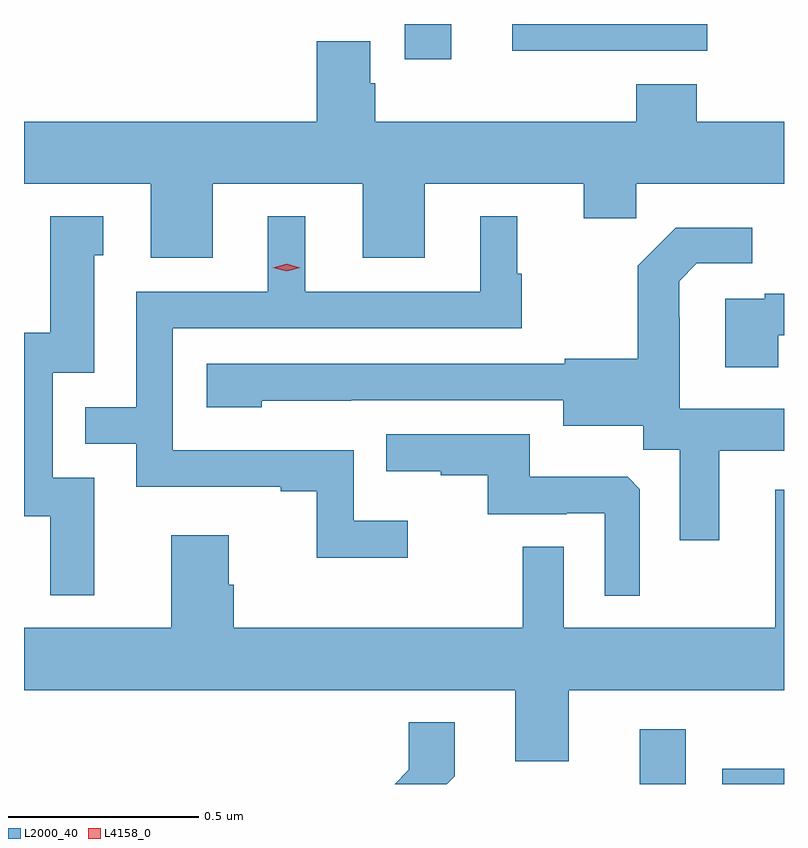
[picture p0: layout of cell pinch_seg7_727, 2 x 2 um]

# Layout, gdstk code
import gdstk
lib = gdstk.Library(unit=1e-6, precision=1e-09)
def R(c, l, rs):  # rectangles x0, y0, x1, y1
    for r in rs: c.add(gdstk.rectangle(r[:2], r[2:], *l))
def P(c, l, *ps):  # polygons
    for p in ps: c.add(gdstk.Polygon(p, *l))
L2000_40 = (2000, 40)
L4158_0 = (4158, 0)

pinch_seg7_727 = lib.new_cell('pinch_seg7_727')
R(pinch_seg7_727, L2000_40, [(284.306,1029.673,284.428,1029.817), (284.523,1029.673,284.686,1029.713), (283.688,1031.58,283.81,1031.673), (283.971,1031.603,284.484,1031.673)])
P(pinch_seg7_727, L2000_40, [(283.183,1031.252),(283.577,1031.252),(283.577,1031.058),(283.741,1031.058),(283.741,1031.252),(284.159,1031.252),(284.159,1031.162),(284.297,1031.162),(284.297,1031.252),(284.686,1031.252),(284.686,1031.416),(284.457,1031.416),(284.457,1031.515),(284.297,1031.515),(284.297,1031.416),(283.61,1031.416),(283.61,1031.517),(283.597,1031.517),(283.597,1031.628),(283.457,1031.628),(283.457,1031.416),(282.686,1031.416),(282.686,1031.252),(283.019,1031.252),(283.019,1031.058),(283.183,1031.058)],
  [(282.871,1030.479),(282.762,1030.479),(282.762,1030.755),(282.871,1030.755),(282.871,1031.064),(282.895,1031.064),(282.895,1031.167),(282.755,1031.167),(282.755,1030.86),(282.686,1030.86),(282.686,1030.378),(282.755,1030.378),(282.755,1030.17),(282.871,1030.17)],
  [(283.696,1030.366),(283.554,1030.366),(283.554,1030.551),(283.077,1030.551),(283.077,1030.872),(283.996,1030.872),(283.996,1031.016),(283.984,1031.016),(283.984,1031.167),(283.886,1031.167),(283.886,1030.968),(283.426,1030.968),(283.426,1031.167),(283.328,1031.167),(283.328,1030.968),(282.981,1030.968),(282.981,1030.665),(282.847,1030.665),(282.847,1030.569),(282.981,1030.569),(282.981,1030.455),(283.361,1030.455),(283.361,1030.443),(283.456,1030.443),(283.456,1030.268),(283.696,1030.268)],
  [(284.515,1030.55),(284.686,1030.55),(284.686,1030.66),(284.412,1030.66),(284.412,1030.901),(284.41,1030.901),(284.41,1030.996),(284.457,1031.043),(284.602,1031.043),(284.602,1031.137),(284.401,1031.137),(284.301,1031.037),(284.301,1030.792),(284.109,1030.792),(284.109,1030.779),(283.167,1030.779),(283.167,1030.664),(283.311,1030.664),(283.311,1030.682),(283.547,1030.682),(283.547,1030.683),(284.105,1030.683),(284.105,1030.616),(284.316,1030.616),(284.316,1030.552),(284.411,1030.552),(284.411,1030.314),(284.515,1030.314)],
  [(284.671,1030.854),(284.686,1030.854),(284.686,1030.963),(284.635,1030.963),(284.635,1030.95),(284.531,1030.95),(284.531,1030.77),(284.671,1030.77)],
  [(284.307,1030.449),(284.275,1030.481),(284.017,1030.481),(284.017,1030.593),(283.639,1030.593),(283.639,1030.496),(283.783,1030.496),(283.783,1030.485),(283.907,1030.485),(283.907,1030.383),(284.114,1030.383),(284.114,1030.386),(284.214,1030.386),(284.214,1030.169),(284.307,1030.169)],
  [(283.073,1030.327),(283.073,1030.084),(282.686,1030.084),(282.686,1029.92),(283.979,1029.92),(283.979,1029.733),(284.119,1029.733),(284.119,1029.92),(284.686,1029.92),(284.686,1030.447),(284.663,1030.447),(284.663,1030.084),(284.106,1030.084),(284.106,1030.298),(283.998,1030.298),(283.998,1030.084),(283.238,1030.084),(283.238,1030.197),(283.225,1030.197),(283.225,1030.327)],
  [(283.819,1029.694),(283.819,1029.835),(283.699,1029.835),(283.699,1029.711),(283.662,1029.673),(283.798,1029.673)])
P(pinch_seg7_727, L4158_0, [(283.377,1031.022),(283.341,1031.031),(283.341,1031.032),(283.341,1031.032),(283.377,1031.042),(283.413,1031.032),(283.413,1031.032),(283.413,1031.031)])

lib.write_gds('pinch_seg7_727.gds')
